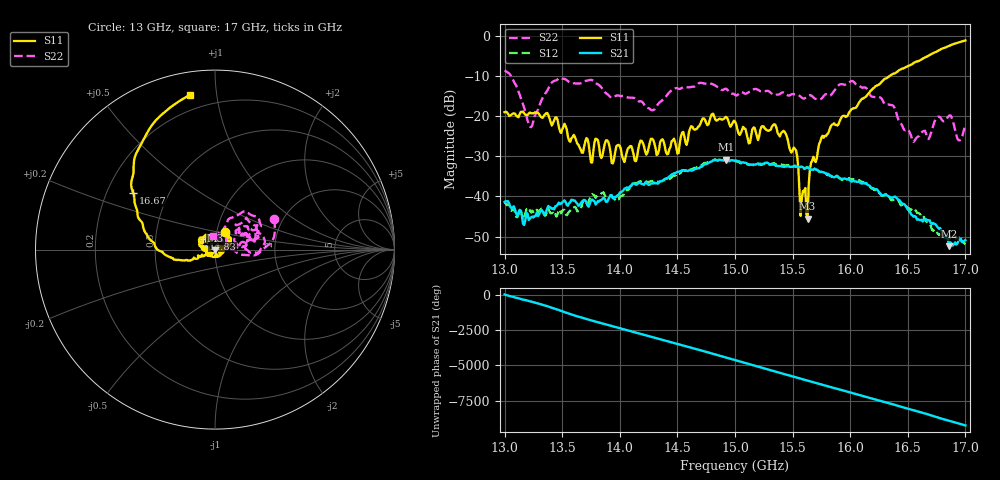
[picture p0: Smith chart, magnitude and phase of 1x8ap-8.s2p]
!Keysight Technologies,P9374A,MY57211807,A.19.30.04
!Date: Friday, May 08, 2026 15:39:38
!Correction: S11(C  2-Port  )
!S21(C  2-Port  )
!S12(C  2-Port  )
!S22(C  2-Port  )
!S2P File: Measurements: S11, S21, S12, S22:
# Hz S  dB  R 50
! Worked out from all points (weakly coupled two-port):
!   401 points, 13 GHz to 17 GHz, reference 50 ohm
!   highest |S21| = -30.85 dB at 14.92 GHz (marker M1); lowest = -52.4 dB at 16.86 GHz (marker M2)
!   lowest |S11| = -45.5 dB at 15.63 GHz (marker M3), VSWR 1.01, Z = 50.2 - j0.487 ohm
!   |S11| at or under -10 dB: start of sweep to 16.34 GHz
!   |S22| runs from -26.4 to -8.7 dB; largest |S21 - S12| = 0.0026
!   S11 on the Smith chart (normalised r, x): 13 GHz: 1.10, +0.22; 14.83 GHz: 0.87, +0.11; 16.67 GHz: 0.31, +0.28; 17 GHz: 0.12, +0.84
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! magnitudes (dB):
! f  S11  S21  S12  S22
! 13 GHz  -19.0  -41.4  -41.5  -8.7
! 13.22 GHz  -19.1  -45.5  -43.5  -22.6
! 13.42 GHz  -21.7  -43.0  -44.1  -11.4
! 13.67 GHz  -29.1  -41.4  -42.3  -11.7
! 14.34 GHz  -28.5  -36.6  -36.4  -16.7
! 14.83 GHz  -20.9  -31.0  -30.8  -12.5
! 14.92 GHz  -20.2  -30.9  -30.6  -13.2
! 15 GHz  -21.4  -31.1  -31.2  -14.7
! 15.12 GHz  -26.8  -32.0  -32.1  -14.0
! 15.43 GHz  -23.9  -32.7  -32.3  -14.2
! 15.53 GHz  -28.5  -32.6  -32.6  -14.6
! 15.58 GHz  -40.5  -32.6  -32.9  -15.4
! 15.63 GHz  -45.5  -32.7  -32.7  -15.0
! 15.67 GHz  -31.1  -33.3  -33.5  -15.1
! 15.76 GHz  -24.9  -33.9  -34.1  -15.4
! 16.02 GHz  -18.2  -36.2  -35.8  -11.3
! 16.34 GHz  -10.1  -40.1  -40.1  -17.2
! 16.55 GHz  -6.8  -45.1  -43.4  -26.4
! 16.67 GHz  -5.1  -46.0  -46.7  -25.4
! 16.86 GHz  -2.5  -52.4  -50.6  -19.9
! 16.94 GHz  -1.7  -51.0  -50.2  -26.0
! 17 GHz  -1.2  -50.9  -51.9  -22.4
